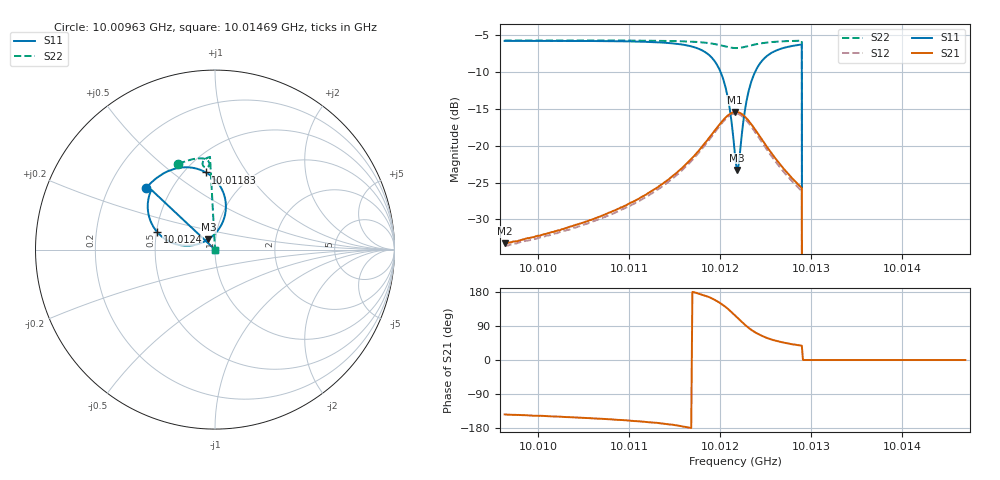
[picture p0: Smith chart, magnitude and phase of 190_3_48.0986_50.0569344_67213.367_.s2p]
#  HZ  S  RI  R  50.00
! Rohde & Schwarz Vector Network Analyzer
! Rohde-Schwarz,ZNB20-2Port,1311601062101988,3.16
! Created: UTC 12/23/2023, 3:53:40 AM
! freq[Hz]  re:S11  im:S11  re:S21  im:S21  re:S12  im:S12  re:S22  im:S22
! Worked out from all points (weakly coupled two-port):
!   401 points, 10.00963 GHz to 10.01469 GHz, reference 50 ohm
!   highest |S21| = -15.41 dB at 10.01216 GHz (marker M1); lowest = -33.3 dB at 10.00963 GHz (marker M2)
!   lowest |S11| = -23.3 dB at 10.01219 GHz (marker M3), VSWR 1.15, Z = 46.2 + j5.35 ohm
!   |S11| at or under -10 dB: 10.012 GHz to 10.01238 GHz (377.8 kHz wide, 0.00377 % of centre); 10.01289 GHz to end of sweep
!   |S22| runs from - to -5.7 dB; largest |S21 - S12| = 0.0085
!   S11 on the Smith chart (normalised r, x): 10.00963 GHz: 0.36, +0.34; 10.01183 GHz: 0.63, +0.67; 10.0124 GHz: 0.51, +0.11; 10.01469 GHz: 1.00, +0.00
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1.0009629e10  -0.3851 0.3421  -0.0174 -0.0129  -0.0162 -0.013  -0.204 0.4763
1.0010477e10  -0.3299 0.3952  -0.0265 -0.0138  -0.0248 -0.0145  -0.1507 0.4966
1.0010996e10  -0.2787 0.4287  -0.0379 -0.0139  -0.0359 -0.0152  -0.1153 0.5054
1.0011325e10  -0.2274 0.4494  -0.0516 -0.0123  -0.0491 -0.0143  -0.0905 0.5088
1.0011603e10  -0.1549 0.4586  -0.0728 -0.00491  -0.0701 -0.00859  -0.0663 0.5079
1.0011831e10  -0.051 0.43  -0.1027 0.0182  -0.1002 0.0121  -0.044 0.4995
1.0011945e10  0.0185 0.3685  -0.1189 0.0488  -0.118 0.0409  -0.034 0.4884
1.0012033e10  0.0582 0.2737  -0.1219 0.0876  -0.123 0.0797  -0.0317 0.4748
1.0012097e10  0.0524 0.1796  -0.1088 0.1216  -0.1112 0.1143  -0.0359 0.4647
1.001216e10  -0.00193 0.0864  -0.078 0.1507  -0.0823 0.1434  -0.0459 0.4585
1.0012185e10  -0.0368 0.0577  -0.0618 0.1577  -0.0668 0.1509  -0.0507 0.458
1.0012211e10  -0.0765 0.0371  -0.0455 0.1611  -0.0498 0.1551  -0.0555 0.4587
1.0012261e10  -0.1599 0.0219  -0.0128 0.1588  -0.0173 0.1532  -0.0636 0.464
1.0012299e10  -0.2177 0.0302  0.00846 0.1503  0.00297 0.1452  -0.0673 0.4696
1.001235e10  -0.2786 0.059  0.0289 0.1341  0.0234 0.1297  -0.0694 0.4776
1.00124e10  -0.3211 0.0966  0.0414 0.1167  0.0356 0.1132  -0.0684 0.4855
1.0012565e10  -0.373 0.2115  0.0523 0.0712  0.0469 0.07  -0.0566 0.5031
1.0012869e10  -0.3576 0.3274  0.0416 0.0334  0.0382 0.0336  -0.0298 0.5158
1.0012932e10  0 0  0 0  0 0  0 0
1.0013008e10  0 0  0 0  0 0  0 0
1.0013856e10  0 0  0 0  0 0  0 0
1.0014691e10  0 0  0 0  0 0  0 0
